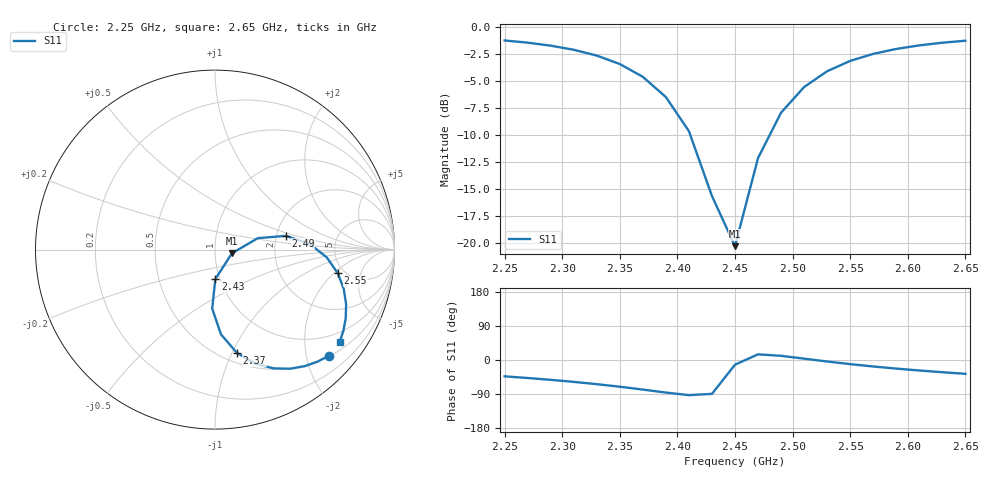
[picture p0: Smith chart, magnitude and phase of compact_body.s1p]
# Hz S RI R 50
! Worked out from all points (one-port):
!   21 points, 2.25 GHz to 2.65 GHz, reference 50 ohm
!   lowest |S11| = -20.3 dB at 2.45 GHz (marker M1), VSWR 1.21, Z = 60.3 - j2.52 ohm
!   |S11| at or under -10 dB: 2.411 GHz to 2.48 GHz (69.04 MHz wide, 2.82 % of centre)
!   S11 on the Smith chart (normalised r, x): 2.25 GHz: 0.51, -2.44; 2.37 GHz: 0.59, -1.04; 2.43 GHz: 0.95, -0.32; 2.49 GHz: 2.25, +0.41; 2.55 GHz: 4.40, -2.25; 2.65 GHz: 0.71, -2.88
2.25e9  0.6331 -0.5919
2.27e9  0.5718 -0.6241
2.29e9  0.5006 -0.6493
2.31e9  0.4187 -0.6637
2.33e9  0.3259 -0.6617
2.35e9  0.2245 -0.6353
2.37e9  0.1218 -0.575
2.39e9  0.0334 -0.4725
2.41e9  -0.0155 -0.3288
2.43e9  0.00174 -0.1646
2.45e9  0.0941 -0.0207
2.47e9  0.2386 0.0638
2.49e9  0.3937 0.0766
2.51e9  0.5261 0.0328
2.53e9  0.6226 -0.0432
2.55e9  0.6843 -0.1317
2.57e9  0.7179 -0.221
2.59e9  0.7305 -0.3053
2.61e9  0.7282 -0.3824
2.63e9  0.7154 -0.4518
2.65e9  0.695 -0.5139
